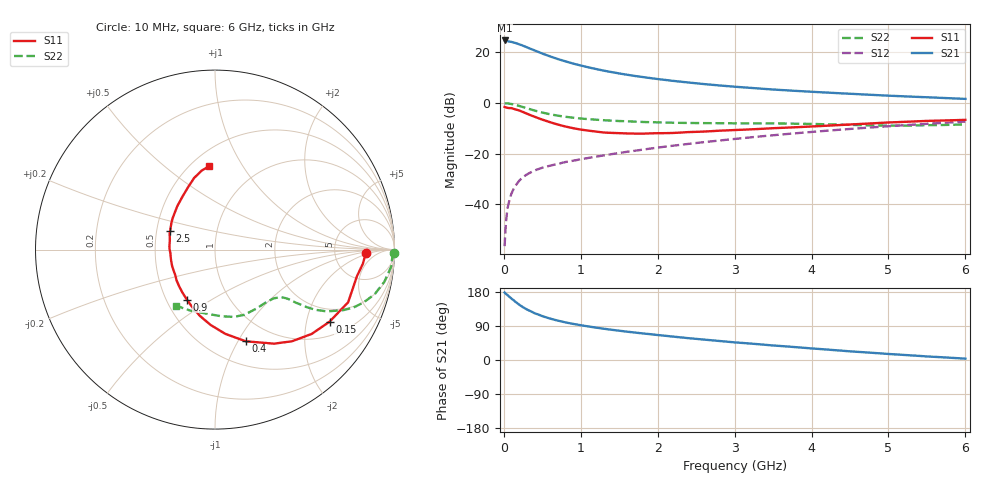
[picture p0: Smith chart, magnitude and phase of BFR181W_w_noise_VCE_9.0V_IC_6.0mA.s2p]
! Infineon Technologies  Discrete & RF Semiconductors
! BFR181W
! VCE =  9.0 V,  IC =  6.0 mA
! Common Emitter S-Parameters:  Jan 2017
# GHz  S  MA  R  50
!  f  S11  S21  S12  S22
! GHz  MAG  ANG  MAG  ANG  MAG  ANG  MAG  ANG
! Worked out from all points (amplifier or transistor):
!   77 points, 10 MHz to 6 GHz, reference 50 ohm
!   highest |S21| = 24.7 dB at 10 MHz (marker M1)
!   |S21| within 3 dB of that: start of sweep to 323.5 MHz
!   unconditionally stable (mu >= 1): 1.278 GHz to 3.32 GHz
!   at 130 MHz: K = 0.18, MSG = 28.8 dB, |S12| = -33.7 dB
!   at 2.2 GHz: K = 1.07, MAG = 11.2 dB, |S12| = -16.8 dB
!   at 6 GHz: K = 0.85, MSG = 4.5 dB, |S12| = -7.3 dB
!   lowest NFmin = 1.03 dB at 450 MHz
!   S11 on the Smith chart (normalised r, x): 10 MHz: 11, -1; 150 MHz: 1.48, -2.75; 400 MHz: 0.75, -1.08; 900 MHz: 0.63, -0.39; 2.5 GHz: 0.59, +0.13; 6 GHz: 0.61, +0.73
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0.01  0.8407 -1.3  17.26 178.2  0.0015 92.0  0.9967 -1.1
0.02  0.8272 -5.6  17.09 175.6  0.003 95.5  0.9893 -1.9
0.04  0.8115 -8.9  16.82 172.4  0.0067 86.5  0.987 -4.3
0.1  0.7977 -21.6  16.15 161.9  0.0165 80.0  0.9602 -10.8
0.15  0.754 -32.2  15.4 153.8  0.0233 74.0  0.924 -15.6
0.2  0.7148 -41.1  14.49 145.9  0.0294 70.7  0.8795 -19.5
0.25  0.6668 -50.0  13.59 139.2  0.0349 66.8  0.8355 -22.8
0.3  0.6187 -57.9  12.63 133.2  0.0391 63.8  0.7898 -25.3
0.4  0.5391 -71.4  10.98 123.4  0.0468 60.8  0.7129 -28.9
0.5  0.4725 -83.1  9.519 115.8  0.0531 58.6  0.6508 -31.0
0.6  0.4203 -93.4  8.377 109.3  0.0582 57.5  0.6034 -32.1
0.7  0.3781 -103.0  7.427 104.0  0.063 57.8  0.5663 -32.7
0.9  0.32 -119.3  6.038 95.3  0.0729 58.1  0.5156 -33.6
1.1  0.2861 -134.2  5.082 88.5  0.0828 59.5  0.483 -34.3
1.3  0.2626 -147.6  4.372 82.5  0.0929 60.6  0.4599 -35.4
1.6  0.2521 -165.6  3.635 74.8  0.1094 61.8  0.4383 -37.7
2.1  0.2555 171.6  2.867 63.9  0.1384 62.6  0.4137 -43.7
2.5  0.2709 157.5  2.464 55.8  0.1631 62.4  0.4042 -49.9
3.1  0.2982 140.6  2.055 45.0  0.2033 60.7  0.3985 -59.5
4.1  0.3518 119.9  1.644 29.1  0.2774 55.7  0.3852 -76.4
5.1  0.4206 105.0  1.382 14.7  0.3574 48.3  0.3595 -100.6
6  0.4671 93.8  1.213 3.6  0.4327 40.3  0.3807 -124.7
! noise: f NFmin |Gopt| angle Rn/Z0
0.45  1.03  0.28  16  0.22
0.9  1.07  0.26  30  0.22
1.9  1.49  0.12  82  0.19
2.4  1.65  0.1  95  0.23
